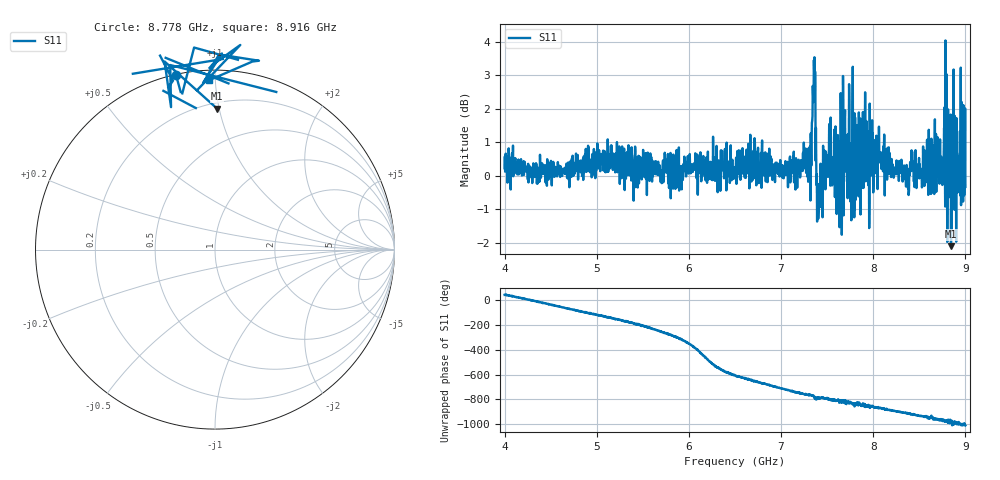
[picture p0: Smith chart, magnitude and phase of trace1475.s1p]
! Created with skrf 1.8.0 (http://scikit-rf.org).
# Hz S RI R 50.0
!freq ReS11 ImS11
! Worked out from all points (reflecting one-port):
!   1601 points, 4 GHz to 9 GHz, reference 50 ohm
!   lowest |S11| = -2.1 dB at 8.844 GHz (marker M1), VSWR 8.28, Z = 12.1 + j49.4 ohm
!   phase of S11 starts at 45 deg and turns -1057 deg over the sweep
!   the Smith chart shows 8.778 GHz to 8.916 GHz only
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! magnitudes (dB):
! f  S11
! 4 GHz  0.2
! 4.625 GHz  0.0
! 5.25 GHz  -0.2
! 5.875 GHz  0.3
! 6.5 GHz  0.0
! 7.125 GHz  0.4
! 7.294 GHz  -0.2
! 7.356 GHz  3.5
! 7.4 GHz  -0.2
! 7.409 GHz  -0.6
! 7.512 GHz  0.1
! 7.619 GHz  0.4
! 7.669 GHz  1.2
! 7.75 GHz  -0.8
! 7.769 GHz  -0.5
! 7.822 GHz  0.7
! 7.875 GHz  0.3
! 7.928 GHz  1.2
! 7.956 GHz  -1.6
! 8.047 GHz  -0.4
! 8.375 GHz  -0.1
! 8.65 GHz  -0.1
! 8.691 GHz  0.5
! 8.738 GHz  0.6
! 8.791 GHz  -0.3
! 8.844 GHz  -2.1
! 8.972 GHz  0.6
! 9 GHz  -0.3
